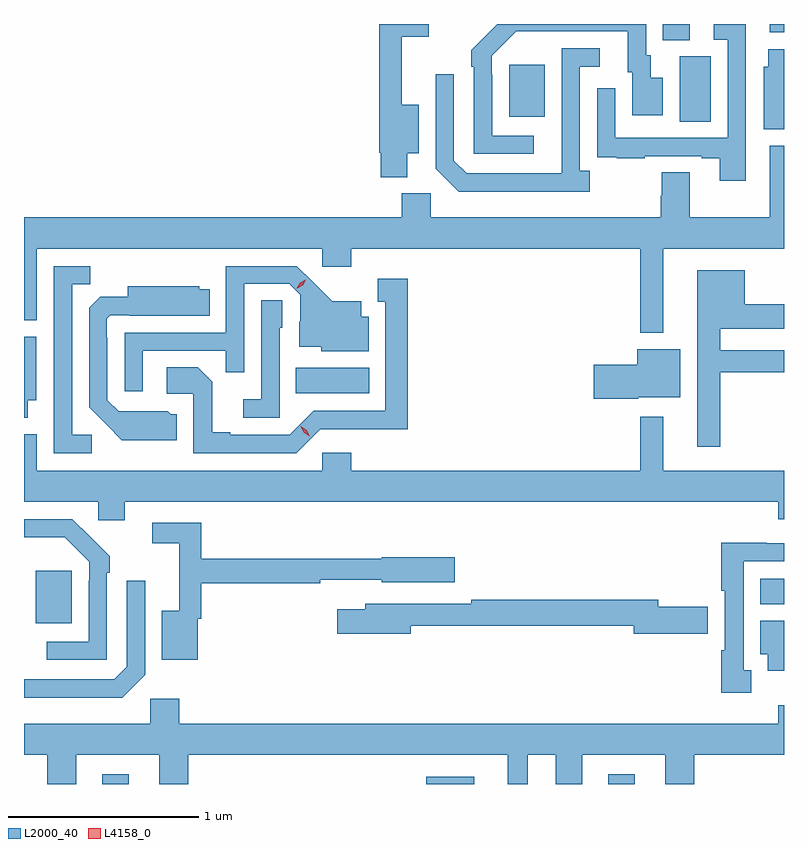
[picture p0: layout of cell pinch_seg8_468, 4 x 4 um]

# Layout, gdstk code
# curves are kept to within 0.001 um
import gdstk
lib = gdstk.Library(unit=1e-6, precision=1e-09)
def R(c, l, rs):  # rectangles x0, y0, x1, y1
    for r in rs: c.add(gdstk.rectangle(r[:2], r[2:], *l))
def P(c, l, *ps):  # polygons
    for p in ps: c.add(gdstk.Polygon(p, *l))
L2000_40 = (2000, 40)
L4158_0 = (4158, 0)

pinch_seg8_468 = lib.new_cell('pinch_seg8_468')
R(pinch_seg8_468, L2000_40, [(226.259,1137.658,226.399,1137.709), (227.966,1137.658,228.217,1137.697), (228.923,1137.658,229.063,1137.709), (225.911,1138.505,226.099,1138.78), (229.724,1138.604,229.848,1138.738), (227.278,1139.714,227.665,1139.848), (229.298,1141.144,229.462,1141.488), (228.401,1141.169,228.589,1141.444), (229.211,1141.573,229.351,1141.658), (229.772,1141.614,229.848,1141.658)])
P(pinch_seg8_468, L2000_40, [(229.647,1141.658),(229.479,1141.658),(229.479,1141.575),(229.551,1141.575),(229.551,1141.059),(228.96,1141.059),(228.96,1141.321),(228.864,1141.321),(228.864,1141.066),(228.865,1141.066),(228.865,1140.957),(228.967,1140.957),(228.967,1140.951),(229.115,1140.951),(229.115,1140.963),(229.415,1140.963),(229.415,1140.951),(229.511,1140.951),(229.511,1140.834),(229.647,1140.834)],
  [(228.532,1141.071),(228.312,1141.071),(228.312,1141.391),(228.309,1141.391),(228.309,1141.491),(228.438,1141.62),(229.025,1141.62),(229.025,1141.404),(229.049,1141.404),(229.049,1141.179),(229.21,1141.179),(229.21,1141.375),(229.147,1141.375),(229.147,1141.494),(229.122,1141.494),(229.122,1141.658),(228.34,1141.658),(228.307,1141.625),(228.306,1141.626),(228.201,1141.521),(228.201,1141.433),(228.216,1141.433),(228.216,1140.975),(228.532,1140.975)],
  [(227.866,1140.977),(227.926,1140.977),(227.926,1141.234),(227.837,1141.234),(227.837,1141.59),(227.977,1141.59),(227.977,1141.658),(227.719,1141.658),(227.719,1140.981),(227.726,1140.981),(227.726,1140.851),(227.866,1140.851)],
  [(228.826,1140.886),(228.774,1140.886),(228.774,1141.434),(228.877,1141.434),(228.877,1141.53),(228.678,1141.53),(228.677,1140.873),(228.177,1140.873),(228.111,1140.939),(228.111,1141.393),(228.015,1141.393),(228.015,1140.897),(228.136,1140.776),(228.826,1140.776)],
  [(229.848,1141.525),(229.766,1141.525),(229.766,1141.434),(229.742,1141.434),(229.742,1141.103),(229.848,1141.103)],
  [(229.213,1140.476),(229.848,1140.476),(229.848,1141.018),(229.772,1141.018),(229.772,1140.64),(229.351,1140.64),(229.351,1140.878),(229.204,1140.878),(229.204,1140.753),(229.199,1140.753),(229.199,1140.64),(227.988,1140.64),(227.988,1140.766),(227.837,1140.766),(227.837,1140.64),(225.848,1140.64),(225.848,1140.098),(225.916,1140.098),(225.916,1140.476),(227.418,1140.476),(227.418,1140.381),(227.57,1140.381),(227.57,1140.476),(229.092,1140.476),(229.092,1140.032),(229.213,1140.032)],
  [(226.204,1139.496),(226.101,1139.496),(226.101,1140.289),(226.197,1140.289),(226.197,1140.384),(226.005,1140.384),(226.005,1139.4),(226.204,1139.4)],
  [(226.473,1139.937),(226.909,1139.937),(226.909,1139.824),(227.007,1139.824),(227.007,1140.291),(227.244,1140.291),(227.301,1140.234),(227.301,1140.092),(227.297,1140.092),(227.297,1139.96),(227.412,1139.96),(227.412,1139.936),(227.662,1139.936),(227.662,1140.118),(227.623,1140.118),(227.623,1140.199),(227.471,1140.199),(227.284,1140.384),(226.911,1140.384),(226.911,1140.033),(226.377,1140.033),(226.377,1139.724),(226.473,1139.724)],
  [(229.513,1139.824),(229.848,1139.824),(229.848,1139.94),(229.513,1139.94),(229.513,1140.053),(229.848,1140.053),(229.848,1140.183),(229.642,1140.183),(229.642,1140.361),(229.391,1140.361),(229.391,1139.433),(229.513,1139.433)],
  [(227.406,1139.526),(227.869,1139.525),(227.869,1140.316),(227.711,1140.316),(227.711,1140.195),(227.75,1140.195),(227.75,1139.622),(227.373,1139.622),(227.247,1139.496),(226.933,1139.496),(226.933,1139.509),(226.839,1139.509),(226.839,1139.776),(226.763,1139.852),(226.599,1139.852),(226.599,1139.712),(226.74,1139.712),(226.74,1139.4),(227.28,1139.4)],
  [(226.651,1139.604),(226.62,1139.604),(226.604,1139.62),(226.347,1139.619),(226.287,1139.679),(226.287,1140.008),(226.284,1140.008),(226.284,1140.108),(226.302,1140.126),(226.402,1140.126),(226.402,1140.122),(226.826,1140.122),(226.826,1140.262),(226.77,1140.262),(226.77,1140.277),(226.394,1140.277),(226.394,1140.223),(226.25,1140.223),(226.191,1140.164),(226.191,1139.642),(226.363,1139.468),(226.651,1139.468)],
  [(227.193,1140.06),(227.208,1140.06),(227.208,1140.203),(227.097,1140.203),(227.097,1139.683),(227.001,1139.683),(227.001,1139.586),(227.193,1139.586)],
  [(225.868,1139.678),(225.913,1139.678),(225.913,1140.013),(225.848,1140.013),(225.848,1139.585),(225.868,1139.585)],
  [(229.08,1139.693),(229.303,1139.693),(229.303,1139.947),(229.076,1139.947),(229.076,1139.864),(228.846,1139.864),(228.846,1139.686),(229.08,1139.686)],
  [(226.378,1139.144),(229.817,1139.144),(229.817,1139.051),(229.848,1139.051),(229.848,1139.308),(229.213,1139.308),(229.213,1139.59),(229.092,1139.59),(229.092,1139.308),(227.57,1139.308),(227.57,1139.401),(227.418,1139.401),(227.418,1139.308),(225.916,1139.308),(225.916,1139.5),(225.848,1139.5),(225.848,1139.144),(226.239,1139.144),(226.239,1139.046),(226.378,1139.046)],
  [(226.284,1138.769),(226.299,1138.769),(226.299,1138.857),(226.102,1139.052),(225.848,1139.052),(225.848,1138.956),(226.063,1138.956),(226.191,1138.827),(226.191,1138.727),(226.188,1138.727),(226.188,1138.407),(225.969,1138.407),(225.969,1138.311),(226.284,1138.311)],
  [(226.762,1138.527),(226.781,1138.527),(226.781,1138.714),(227.408,1138.714),(227.408,1138.734),(227.73,1138.734),(227.73,1138.721),(228.115,1138.721),(228.115,1138.851),(227.73,1138.851),(227.73,1138.843),(226.781,1138.843),(226.781,1139.034),(226.524,1139.034),(226.524,1138.926),(226.664,1138.926),(226.664,1138.57),(226.574,1138.57),(226.574,1138.313),(226.762,1138.313)],
  [(229.675,1138.257),(229.636,1138.257),(229.636,1138.83),(229.848,1138.83),(229.848,1138.926),(229.758,1138.926),(229.758,1138.928),(229.518,1138.928),(229.518,1138.675),(229.535,1138.675),(229.535,1138.361),(229.518,1138.361),(229.518,1138.137),(229.675,1138.137)],
  [(226.485,1138.233),(226.485,1138.729),(226.389,1138.729),(226.389,1138.275),(226.323,1138.209),(225.848,1138.209),(225.848,1138.112),(226.364,1138.112)],
  [(227.884,1138.492),(229.058,1138.492),(229.058,1138.45),(229.447,1138.45),(229.447,1138.592),(229.186,1138.592),(229.186,1138.628),(228.202,1138.628),(228.202,1138.608),(227.645,1138.608),(227.645,1138.579),(227.496,1138.579),(227.496,1138.45),(227.884,1138.45)],
  [(229.848,1138.516),(229.724,1138.516),(229.724,1138.34),(229.763,1138.34),(229.763,1138.253),(229.848,1138.253)],
  [(226.664,1138.108),(226.512,1138.108),(226.512,1137.976),(225.848,1137.976),(225.848,1137.812),(225.971,1137.812),(225.971,1137.658),(226.123,1137.658),(226.123,1137.812),(226.559,1137.812),(226.559,1137.658),(226.712,1137.658),(226.712,1137.812),(228.395,1137.812),(228.395,1137.658),(228.499,1137.658),(228.499,1137.812),(228.647,1137.812),(228.647,1137.658),(228.787,1137.658),(228.787,1137.812),(229.223,1137.812),(229.223,1137.658),(229.376,1137.658),(229.376,1137.812),(229.848,1137.812),(229.848,1138.072),(229.817,1138.072),(229.817,1137.976),(226.664,1137.976)])
P(pinch_seg8_468, L4158_0, [(227.284,1140.267),(227.284,1140.267),(227.302,1140.297),(227.332,1140.312),(227.332,1140.312),(227.332,1140.312),(227.315,1140.282),(227.285,1140.267)],
  [(227.353,1139.488),(227.322,1139.507),(227.304,1139.539),(227.304,1139.54),(227.304,1139.54),(227.336,1139.521),(227.353,1139.488),(227.353,1139.488)])

lib.write_gds('pinch_seg8_468.gds')
